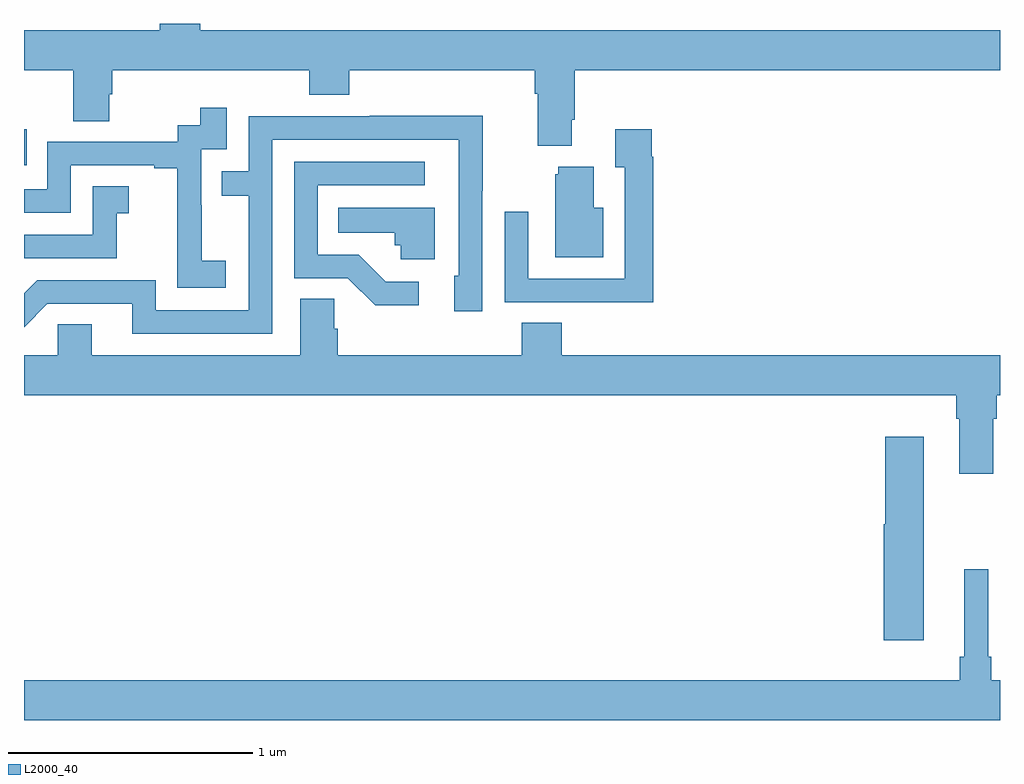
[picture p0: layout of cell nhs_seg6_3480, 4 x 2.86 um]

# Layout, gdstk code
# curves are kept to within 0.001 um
import gdstk
lib = gdstk.Library(unit=1e-6, precision=1e-09)
def R(c, l, rs):  # rectangles x0, y0, x1, y1
    for r in rs: c.add(gdstk.rectangle(r[:2], r[2:], *l))
def P(c, l, *ps):  # polygons
    for p in ps: c.add(gdstk.Polygon(p, *l))
L2000_40 = (2000, 40)

nhs_seg6_3480 = lib.new_cell('nhs_seg6_3480')
R(nhs_seg6_3480, L2000_40, [(315,974.919,315.011,975.067)])
P(nhs_seg6_3480, L2000_40, [(317.245,975.106),(317.258,975.106),(317.258,975.308),(319,975.308),(319,975.472),(315.722,975.472),(315.722,975.5),(315.557,975.5),(315.557,975.472),(315,975.472),(315,975.308),(315.202,975.308),(315.202,975.1),(315.349,975.1),(315.349,975.21),(315.362,975.21),(315.362,975.308),(316.169,975.308),(316.169,975.209),(316.334,975.209),(316.334,975.308),(317.093,975.308),(317.093,975.212),(317.105,975.212),(317.105,974.999),(317.245,974.999)],
  [(315.826,974.527),(315.728,974.527),(315.728,974.756),(315.726,974.756),(315.726,974.985),(315.831,974.985),(315.831,975.154),(315.723,975.154),(315.723,975.084),(315.63,975.084),(315.63,975.015),(315.096,975.015),(315.096,974.82),(315,974.82),(315,974.724),(315.192,974.724),(315.192,974.919),(315.533,974.919),(315.533,974.907),(315.629,974.907),(315.629,974.623),(315.628,974.623),(315.628,974.417),(315.826,974.417)],
  [(316.017,975.024),(316.781,975.024),(316.782,974.466),(316.763,974.466),(316.763,974.322),(316.878,974.322),(316.878,974.815),(316.881,974.815),(316.881,975.122),(316.417,975.122),(316.417,975.12),(315.921,975.12),(315.921,974.895),(315.811,974.895),(315.811,974.794),(315.921,974.794),(315.921,974.325),(315.54,974.325),(315.54,974.448),(315.054,974.448),(315,974.394),(315,974.256),(315.096,974.352),(315.443,974.352),(315.443,974.229),(316.017,974.229)],
  [(317.579,974.954),(317.572,974.954),(317.572,975.067),(317.423,975.067),(317.423,974.911),(317.463,974.911),(317.463,974.454),(317.067,974.454),(317.067,974.728),(316.971,974.728),(316.971,974.358),(317.287,974.358),(317.287,974.357),(317.579,974.357)],
  [(316.618,974.442),(316.483,974.442),(316.372,974.553),(316.203,974.553),(316.203,974.838),(316.642,974.838),(316.642,974.934),(316.107,974.934),(316.107,974.457),(316.326,974.457),(316.439,974.345),(316.618,974.345)],
  [(317.374,974.746),(317.335,974.746),(317.335,974.914),(317.189,974.914),(317.189,974.883),(317.177,974.883),(317.177,974.543),(317.374,974.543)],
  [(315.381,974.723),(315.43,974.723),(315.43,974.833),(315.282,974.833),(315.282,974.634),(315,974.634),(315,974.538),(315.381,974.538)],
  [(316.684,974.746),(316.288,974.746),(316.288,974.642),(316.519,974.642),(316.519,974.592),(316.545,974.592),(316.545,974.534),(316.684,974.534)],
  [(318.821,973.88),(318.833,973.88),(318.833,973.656),(318.973,973.656),(318.973,973.88),(318.986,973.88),(318.986,973.976),(319,973.976),(319,974.14),(317.204,974.14),(317.204,974.273),(317.039,974.273),(317.039,974.14),(316.286,974.14),(316.286,974.249),(316.272,974.249),(316.272,974.372),(316.133,974.372),(316.133,974.14),(315.277,974.14),(315.277,974.267),(315.138,974.267),(315.138,974.14),(315,974.14),(315,973.976),(318.821,973.976)],
  [(318.688,973.807),(318.53,973.807),(318.53,973.449),(318.524,973.449),(318.524,972.972),(318.688,972.972)],
  [(319,972.808),(318.965,972.808),(318.965,972.904),(318.951,972.904),(318.951,973.264),(318.854,973.264),(318.854,972.904),(318.835,972.904),(318.835,972.808),(315,972.808),(315,972.644),(319,972.644)])

lib.write_gds('nhs_seg6_3480.gds')
